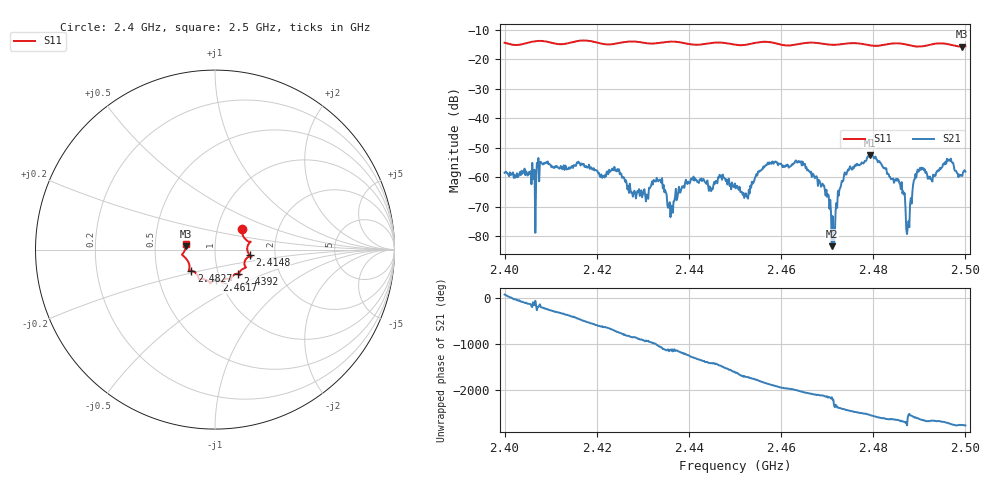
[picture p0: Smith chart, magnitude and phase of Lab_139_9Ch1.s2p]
# Hz S RI R
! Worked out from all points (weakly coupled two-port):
!   601 points, 2.4 GHz to 2.5 GHz, reference 50 ohm
!   highest |S21| = -52.56 dB at 2.4793 GHz (marker M1); lowest = -83.4 dB at 2.471 GHz (marker M2)
!   lowest |S11| = -15.7 dB at 2.4993 GHz (marker M3), VSWR 1.39, Z = 36 + j1.43 ohm
!   |S11| at or under -10 dB: start of sweep to end of sweep
!   S12 and S22 are empty: the file has one direction only
!   S11 on the Smith chart (normalised r, x): 2.4 GHz: 1.31, +0.31; 2.4148 GHz: 1.47, -0.10; 2.4392 GHz: 1.24, -0.35; 2.4617 GHz: 0.96, -0.34; 2.4827 GHz: 0.75, -0.18; 2.5 GHz: 0.72, +0.05
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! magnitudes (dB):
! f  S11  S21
! 2.4 GHz  -14.4  -58.5
! 2.4148 GHz  -14.2  -56.8
! 2.4167 GHz  -13.7  -55.3
! 2.4243 GHz  -14.7  -58.0
! 2.428 GHz  -14.0  -65.1
! 2.4333 GHz  -14.5  -61.4
! 2.436 GHz  -14.0  -73.5
! 2.4392 GHz  -14.6  -62.0
! 2.45 GHz  -15.1  -62.1
! 2.4617 GHz  -15.3  -56.7
! 2.4667 GHz  -14.4  -60.0
! 2.4698 GHz  -14.9  -64.3
! 2.471 GHz  -15.1  -83.4
! 2.4742 GHz  -14.7  -59.1
! 2.4793 GHz  -15.3  -52.6
! 2.4827 GHz  -15.0  -56.9
! 2.4833 GHz  -14.8  -58.9
! 2.4863 GHz  -14.8  -65.5
! 2.4875 GHz  -15.1  -76.8
! 2.49 GHz  -15.7  -57.4
! 2.4993 GHz  -15.7  -59.6
! 2.5 GHz  -15.6  -58.1
